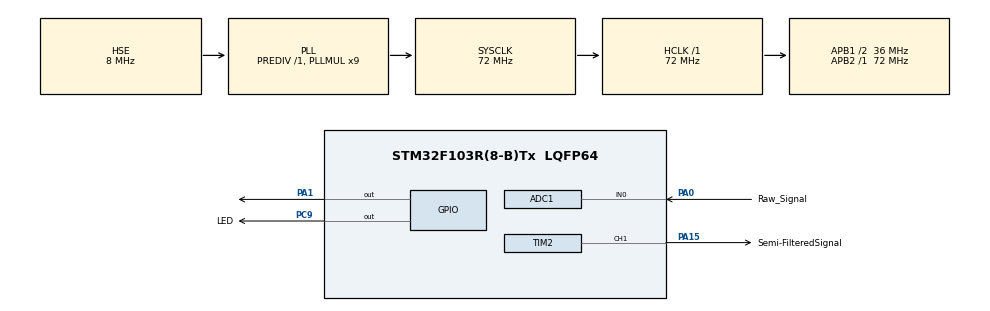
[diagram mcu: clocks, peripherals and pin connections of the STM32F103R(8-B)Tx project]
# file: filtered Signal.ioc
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ADC1.Channel-0\#ChannelRegularConversion=ADC_CHANNEL_0
ADC1.ContinuousConvMode=ENABLE
ADC1.DataAlign=ADC_DATAALIGN_RIGHT
ADC1.DiscontinuousConvMode=DISABLE
ADC1.EnableAnalogWatchDog=false
ADC1.EnableRegularConversion=ENABLE
ADC1.ExternalTrigConvEdgeChoice=NONE
ADC1.InjNumberOfConversion=0
ADC1.NbrOfConversion=1
ADC1.NbrOfConversionFlag=1
ADC1.Rank-0\#ChannelRegularConversion=1
ADC1.SamplingTime-0\#ChannelRegularConversion=ADC_SAMPLETIME_71CYCLES_5
ADC1.ScanConvMode=ADC_SCAN_DISABLE
ADC1.master=1
Mcu.Family=STM32F1
Mcu.Name=STM32F103R(8-B)Tx
Mcu.Package=LQFP64
NVIC.ADC1_2_IRQn=true\:0\:0\:false\:false\:true
NVIC.PriorityGroup=NVIC_PRIORITYGROUP_4
NVIC.TIM1_BRK_IRQn=true\:0\:0\:false\:false\:true
NVIC.TIM1_CC_IRQn=true\:0\:0\:false\:false\:true
NVIC.TIM1_TRG_COM_IRQn=true\:0\:0\:false\:false\:true
NVIC.TIM1_UP_IRQn=true\:0\:0\:false\:false\:true
PA0-WKUP.GPIO_Label=Raw_Signal
PA0-WKUP.Signal=ADCx_IN0
PA1.GPIO_Speed=GPIO_SPEED_FREQ_HIGH
PA1.PinState=GPIO_PIN_RESET
PA1.Signal=GPIO_Output
PA13.Mode=Serial_Wire
PA13.Signal=SYS_JTMS-SWDIO
PA14.Mode=Serial_Wire
PA14.Signal=SYS_JTCK-SWCLK
PA15.GPIO_Label=Semi-FilteredSignal
PA15.Signal=S_TIM2_CH1_ETR
PC9.GPIO_Label=LED
PC9.GPIO_ModeDefaultOutputPP=GPIO_MODE_OUTPUT_PP
PC9.GPIO_Speed=GPIO_SPEED_FREQ_MEDIUM
PC9.PinState=GPIO_PIN_SET
PC9.Signal=GPIO_Output
PD0-OSC_IN.Mode=HSE-External-Oscillator
PD0-OSC_IN.Signal=RCC_OSC_IN
PD1-OSC_OUT.Mode=HSE-External-Oscillator
PD1-OSC_OUT.Signal=RCC_OSC_OUT
ProjectManager.HeapSize=0x200
ProjectManager.StackSize=0x400
ProjectManager.TargetToolchain=SW4STM32
RCC.ADCPresc=RCC_ADCPCLK2_DIV8
RCC.AHBFreq_Value=72000000
RCC.APB1CLKDivider=RCC_HCLK_DIV2
RCC.APB1Freq_Value=36000000
RCC.APB1TimFreq_Value=72000000
RCC.APB2Freq_Value=72000000
RCC.APB2TimFreq_Value=72000000
RCC.HCLKFreq_Value=72000000
RCC.HSIState=RCC_HSI_ON
RCC.PLLMUL=RCC_PLL_MUL9
RCC.PLLSourceVirtual=RCC_PLLSOURCE_HSE
RCC.SYSCLKFreq_VALUE=72000000
RCC.SYSCLKSource=RCC_SYSCLKSOURCE_PLLCLK
RCC.USBFreq_Value=72000000
SH.ADCx_IN0.0=ADC1_IN0,IN0
SH.S_TIM2_CH1_ETR.0=TIM2_CH1,PWM Generation1 CH1
TIM1.Period=719
TIM2.OCFastMode_PWM-PWM\ Generation1\ CH1=TIM_OCFAST_ENABLE
TIM2.Period=255
TIM2.Prescaler=0
TIM2.Pulse-PWM\ Generation1\ CH1=0
VP_TIM1_VS_ClockSourceINT.Mode=Internal
VP_TIM2_VS_ClockSourceINT.Mode=Internal
board=filtered Signal

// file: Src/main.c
/**
  ******************************************************************************
  * File Name          : main.c
  * Description        : Main program body
  ******************************************************************************
  *
  * COPYRIGHT(c) 2016 STMicroelectronics
  *
  * Redistribution and use in source and binary forms, with or without modification,
  * are permitted provided that the following conditions are met:
  *   1. Redistributions of source code must retain the above copyright notice,
  *      this list of conditions and the following disclaimer.
  *   2. Redistributions in binary form must reproduce the above copyright notice,
  *      this list of conditions and the following disclaimer in the documentation
  *      and/or other materials provided with the distribution.
  *   3. Neither the name of STMicroelectronics nor the names of its contributors
  *      may be used to endorse or promote products derived from this software
  *      without specific prior written permission.
  *
  * THIS SOFTWARE IS PROVIDED BY THE COPYRIGHT HOLDERS AND CONTRIBUTORS "AS IS"
  * AND ANY EXPRESS OR IMPLIED WARRANTIES, INCLUDING, BUT NOT LIMITED TO, THE
  * IMPLIED WARRANTIES OF MERCHANTABILITY AND FITNESS FOR A PARTICULAR PURPOSE ARE
  * DISCLAIMED. IN NO EVENT SHALL THE COPYRIGHT HOLDER OR CONTRIBUTORS BE LIABLE
  * FOR ANY DIRECT, INDIRECT, INCIDENTAL, SPECIAL, EXEMPLARY, OR CONSEQUENTIAL
  * DAMAGES (INCLUDING, BUT NOT LIMITED TO, PROCUREMENT OF SUBSTITUTE GOODS OR
  * SERVICES; LOSS OF USE, DATA, OR PROFITS; OR BUSINESS INTERRUPTION) HOWEVER
  * CAUSED AND ON ANY THEORY OF LIABILITY, WHETHER IN CONTRACT, STRICT LIABILITY,
  * OR TORT (INCLUDING NEGLIGENCE OR OTHERWISE) ARISING IN ANY WAY OUT OF THE USE
  * OF THIS SOFTWARE, EVEN IF ADVISED OF THE POSSIBILITY OF SUCH DAMAGE.
  *
  ******************************************************************************
  */
#include "stm32f1xx_hal.h"
#include "adc.h"
#include "tim.h"
#include "gpio.h"

/* USER CODE BEGIN Includes */

	int32_t k[6],final;

	int32_t output_signal=0 , A [4] , B[3];
/* USER CODE END Includes */

/* USER CODE BEGIN PV */
/* Private variables ---------------------------------------------------------*/
uint32_t Raw_Signal;
int32_t out_signal;
/* USER CODE END PV */

void SystemClock_Config(void);
void Error_Handler(void);

/* USER CODE BEGIN PFP */
/* Private function prototypes -----------------------------------------------*/

/* USER CODE END PFP */

/* USER CODE BEGIN 0 */
int32_t _abs(int32_t in)
{
	if (in>=0)return in;
	else return -in;
}

int32_t BandPass_Filter (int32_t input_signal )
	{

		A[3] = (A[0] - A[2]);
		A[2] = A[1];
		A[1] = A[0];
		A[0] =((input_signal*k[0]<<12)+(A[1]*k[1])-(A[2]*k[2]))>>12;

//		output_signal = (B[0] - B[2]);
//		B[2] = B[1];
//		B[1] = B[0];
//		B[0] =((A[3]*k[3])+(B[1]*k[4])-(B[2]*k[5]))>>12;

//		return output_signal;
		return A[3];
	}
//void HAL_TIM_PeriodElapsedCallback(TIM_HandleTypeDef *htim)
//{
//	HAL_GPIO_WritePin(GPIOA,GPIO_PIN_1,GPIO_PIN_SET);
////	un_signal = BandPass_Filter(Raw_Signal);
//	TIM2->CCR1=_abs(output_signal)>>14;
//
//	HAL_GPIO_WritePin(GPIOA,GPIO_PIN_1,GPIO_PIN_RESET);
//
//}

void HAL_ADC_ConvCpltCallback(ADC_HandleTypeDef* hadc)
{
		HAL_GPIO_WritePin(GPIOA,GPIO_PIN_1,GPIO_PIN_SET);
		Raw_Signal=ADC1->DR;

		out_signal =_abs( BandPass_Filter(Raw_Signal ) );
		final = (final*15 + out_signal)>>4;
		HAL_GPIO_WritePin(GPIOA,GPIO_PIN_1,GPIO_PIN_RESET);
}
/* USER CODE END 0 */

int main(void)
{

  /* USER CODE BEGIN 1 */
	k[0]=12;
	k[1]=7057;
	k[2]=4072;
//	k[3]=51;
//	k[4]=6895;
//	k[5]=4025;

  /* USER CODE END 1 */

  /* MCU Configuration----------------------------------------------------------*/

  /* Reset of all peripherals, Initializes the Flash interface and the Systick. */
  HAL_Init();

  /* Configure the system clock */
  SystemClock_Config();

  /* Initialize all configured peripherals */
  MX_GPIO_Init();
  MX_ADC1_Init();
  MX_TIM1_Init();
  MX_TIM2_Init();

  /* USER CODE BEGIN 2 */

//  TIM1->ARR=7200;
      HAL_ADCEx_Calibration_Start(&hadc1);
      HAL_Delay(1000);
  	  HAL_ADC_Start_IT(&hadc1);
//  	  HAL_TIM_PWM_Start(&htim2,TIM_CHANNEL_1);
//  	  HAL_TIM_Base_Start_IT(&htim1);
//  	  TIM2->CCR1 = 127;
  /* USER CODE END 2 */

  /* Infinite loop */
  while (1)
  {

  /* USER CODE BEGIN 3 */
	  	  if(final>=40000){HAL_GPIO_WritePin(LED_GPIO_Port,LED_Pin,1);}
	  	  else {
	  		HAL_GPIO_WritePin(LED_GPIO_Port,LED_Pin,0);
		}
  }
  /* USER CODE END 3 */

}

/** System Clock Configuration
*/
void SystemClock_Config(void)
{

  RCC_OscInitTypeDef RCC_OscInitStruct;
  RCC_ClkInitTypeDef RCC_ClkInitStruct;
  RCC_PeriphCLKInitTypeDef PeriphClkInit;

  RCC_OscInitStruct.OscillatorType = RCC_OSCILLATORTYPE_HSE;
  RCC_OscInitStruct.HSEState = RCC_HSE_ON;
  RCC_OscInitStruct.HSEPredivValue = RCC_HSE_PREDIV_DIV1;
  RCC_OscInitStruct.PLL.PLLState = RCC_PLL_ON;
  RCC_OscInitStruct.PLL.PLLSource = RCC_PLLSOURCE_HSE;
  RCC_OscInitStruct.PLL.PLLMUL = RCC_PLL_MUL9;
  if (HAL_RCC_OscConfig(&RCC_OscInitStruct) != HAL_OK)
  {
    Error_Handler();
  }

  RCC_ClkInitStruct.ClockType = RCC_CLOCKTYPE_HCLK|RCC_CLOCKTYPE_SYSCLK
                              |RCC_CLOCKTYPE_PCLK1|RCC_CLOCKTYPE_PCLK2;
  RCC_ClkInitStruct.SYSCLKSource = RCC_SYSCLKSOURCE_PLLCLK;
  RCC_ClkInitStruct.AHBCLKDivider = RCC_SYSCLK_DIV1;
  RCC_ClkInitStruct.APB1CLKDivider = RCC_HCLK_DIV2;
  RCC_ClkInitStruct.APB2CLKDivider = RCC_HCLK_DIV1;
  if (HAL_RCC_ClockConfig(&RCC_ClkInitStruct, FLASH_LATENCY_2) != HAL_OK)
  {
    Error_Handler();
  }

  PeriphClkInit.PeriphClockSelection = RCC_PERIPHCLK_ADC;
  PeriphClkInit.AdcClockSelection = RCC_ADCPCLK2_DIV8;
  if (HAL_RCCEx_PeriphCLKConfig(&PeriphClkInit) != HAL_OK)
  {
    Error_Handler();
  }

  HAL_SYSTICK_Config(HAL_RCC_GetHCLKFreq()/1000);

  HAL_SYSTICK_CLKSourceConfig(SYSTICK_CLKSOURCE_HCLK);

  /* SysTick_IRQn interrupt configuration */
  HAL_NVIC_SetPriority(SysTick_IRQn, 0, 0);
}

void Error_Handler(void)
{
  while(1)
  {
  }
}

/************************ (C) COPYRIGHT STMicroelectronics *****END OF FILE****/
